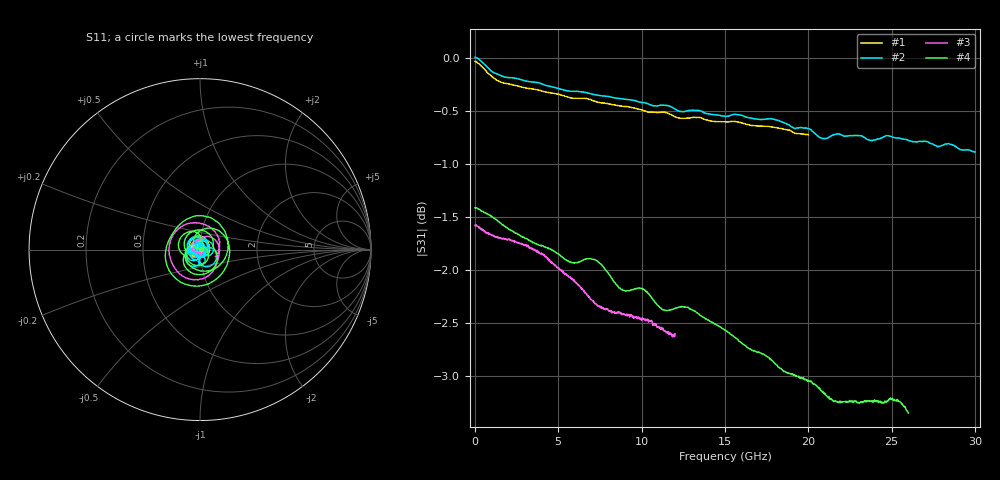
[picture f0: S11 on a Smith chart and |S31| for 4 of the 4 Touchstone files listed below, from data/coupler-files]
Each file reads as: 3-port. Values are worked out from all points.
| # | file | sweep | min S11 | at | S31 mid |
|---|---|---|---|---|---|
| 1 | C16-1R718.s3p | 10 MHz to 20 GHz | -44.4 dB | 204.9 MHz | -0.5 dB at 10.02 GHz |
| 2 | C16-1R726.s3p | 10 MHz to 30 GHz | -44.9 dB | 18 GHz | -0.6 dB at 15.01 GHz |
| 3 | CBR16-0012.s3p | 10 MHz to 12 GHz | -49.5 dB | 47.48 MHz | -2.1 dB at 6.006 GHz |
| 4 | CBR17-0026.s3p | 10 MHz to 26 GHz | -47.9 dB | 14.04 GHz | -2.4 dB at 13.01 GHz |
